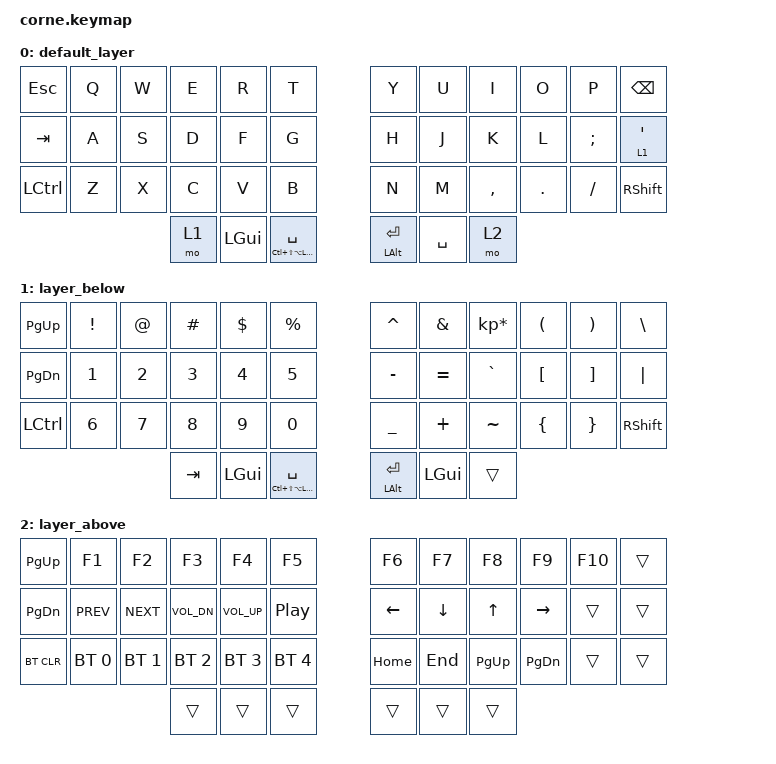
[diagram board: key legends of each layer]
/*
 * Copyright (c) 2020 The ZMK Contributors
 *
 * SPDX-License-Identifier: MIT
 */

#include <behaviors.dtsi>
#include <dt-bindings/zmk/bt.h>
#include <dt-bindings/zmk/keys.h>

/ {
    behaviors {
        tp: tap_preferred {
            compatible = "zmk,behavior-hold-tap";
            label = "TAP_PREFERRED";
            #binding-cells = <2>;
            tapping-term-ms = <150>;
            quick-tap-ms = <0>;
            flavor = "tap-preferred";
            bindings = <&kp>, <&kp>;
        };
    };

    keymap {
        compatible = "zmk,keymap";

        default_layer {
            // -----------------------------------------------------------------------------------------
            // | TAB  |  Q  |  W  |  E  |  R  |    T    |   |  Y  |  U   |  I  |  O  |  P  | ESC |
            // | CTRL |  A  |  S  |  D  |  F  |    G    |   |  H  |  J   |  K  |  L  |  ;  |  LWR/'   |
            // | SHFT |  Z  |  X  |  C  |  V  |    B    |   |  N  |  M   |  ,  |  .  |  /  | SHFT |
            //                    | GUI | LWR | ALT/ENT |   | HYPER/SPC | BKSP  | RSE |

            bindings = <
&kp ESC    &kp Q  &kp W  &kp E  &kp R     &kp T                         &kp Y         &kp U      &kp I      &kp O    &kp P     &kp BACKSPACE
&kp TAB    &kp A  &kp S  &kp D  &kp F     &kp G                         &kp H         &kp J      &kp K      &kp L    &kp SEMI  &lt 1 SQT
&kp LCTRL  &kp Z  &kp X  &kp C  &kp V     &kp B                         &kp N         &kp M      &kp COMMA  &kp DOT  &kp FSLH  &kp RSHFT
                         &mo 1  &kp LGUI  &tp LC(LS(LA(LGUI))) SPACE    &tp LALT RET  &kp SPACE  &mo 2
            >;
        };

        layer_below {
            // -----------------------------------------------------------------------------------------
            // |      |  !  |  @  |  #  |  $  |    %     |   |  ^  |  &  |  *  |  (  |  )  |   \   |
            // |      |  1  |  2  |  3  |  4  |    5     |   |  -  |  =  |  `  |  [  |  ]  |  "|"  |
            // | SHFT |  6  |  7  |  8  |  9  |    0     |   |  _  |  +  |  ~  |  {  |  }  | RSHFT |
            //                     | GUI |     | ALT/ENT |   | HYPER/SPACE | BKSP |    |

            bindings = <
&kp PAGE_UP    &kp EXCL  &kp AT  &kp HASH  &kp DLLR  &kp PRCNT                     &kp CARET     &kp AMPS   &kp KP_MULTIPLY  &kp LPAR  &kp RPAR  &kp BSLH
&kp PAGE_DOWN  &kp N1    &kp N2  &kp N3    &kp N4    &kp N5                        &kp MINUS     &kp EQUAL  &kp GRAVE        &kp LBKT  &kp RBKT  &kp PIPE
&kp LCTRL      &kp N6    &kp N7  &kp N8    &kp N9    &kp N0                        &kp UNDER     &kp PLUS   &kp TILDE        &kp LBRC  &kp RBRC  &kp RSHFT
                                 &kp TAB   &kp LGUI  &tp LC(LS(LA(LGUI))) SPACE    &tp LALT RET  &kp LGUI   &trans
            >;
        };

        layer_above {
            // -----------------------------------------------------------------------------------------
            // |       |  F1  |  F2  |  F3  |  F4  |  F5 |            |  F6  |  F7  |  F8  |  F9  |  F10  |   |
            // |       | Prev | Next | Vol - | Vol + | Play/Pause |   |      | LFT | DWN |  UP | RGT |     |     |
            // | BTCLR | BT1 | BT2 | BT3 | BT4 | BT5 |   |            |     |     |     |     |     |     |
            //                    |     |     |    |                  |     |     |     |

            bindings = <
&kp PAGE_UP    &kp F1        &kp F2        &kp F3        &kp F4        &kp F5          &kp F6    &kp F7    &kp F8       &kp F9         &kp F10  &trans
&kp PAGE_DOWN  &kp C_PREV    &kp C_NEXT    &kp C_VOL_DN  &kp C_VOL_UP  &kp C_PP        &kp LEFT  &kp DOWN  &kp UP       &kp RIGHT      &trans   &trans
&bt BT_CLR     &bt BT_SEL 0  &bt BT_SEL 1  &bt BT_SEL 2  &bt BT_SEL 3  &bt BT_SEL 4    &kp HOME  &kp END   &kp PAGE_UP  &kp PAGE_DOWN  &trans   &trans
                                           &trans        &trans        &trans          &trans    &trans    &trans
            >;
        };
    };
};
